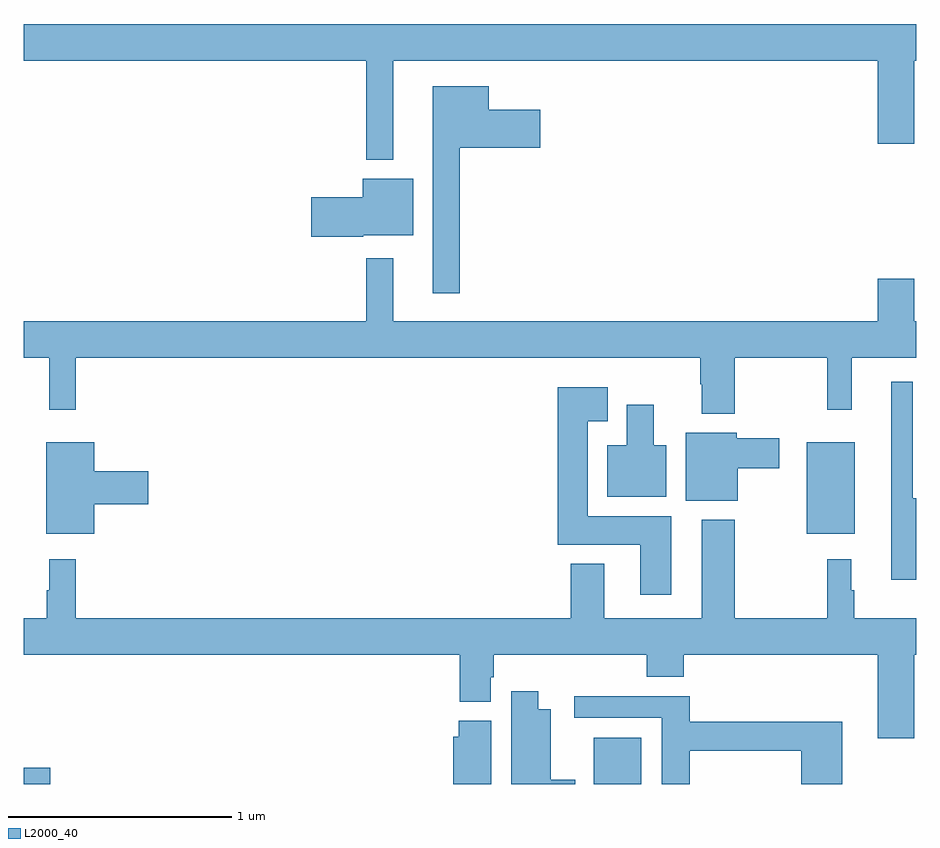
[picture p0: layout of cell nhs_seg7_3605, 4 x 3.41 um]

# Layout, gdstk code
import gdstk
lib = gdstk.Library(unit=1e-6, precision=1e-09)
def R(c, l, rs):  # rectangles x0, y0, x1, y1
    for r in rs: c.add(gdstk.rectangle(r[:2], r[2:], *l))
def P(c, l, *ps):  # polygons
    for p in ps: c.add(gdstk.Polygon(p, *l))
L2000_40 = (2000, 40)

nhs_seg7_3605 = lib.new_cell('nhs_seg7_3605')
R(nhs_seg7_3605, L2000_40, [(341,1036,341.117,1036.072), (343.556,1036,343.768,1036.207), (344.51,1037.123,344.725,1037.533)])
P(nhs_seg7_3605, L2000_40, [(342.655,1039.244),(344.828,1039.244),(344.828,1038.87),(344.992,1038.87),(344.992,1039.244),(345,1039.244),(345,1039.408),(341,1039.408),(341,1039.244),(342.534,1039.244),(342.534,1038.8),(342.655,1038.8)],
  [(342.955,1038.853),(343.315,1038.853),(343.315,1039.024),(343.084,1039.024),(343.084,1039.129),(342.833,1039.129),(342.833,1038.201),(342.955,1038.201)],
  [(342.522,1038.461),(342.745,1038.461),(342.745,1038.715),(342.518,1038.715),(342.518,1038.632),(342.288,1038.632),(342.288,1038.454),(342.522,1038.454)],
  [(344.187,1037.912),(344.601,1037.912),(344.601,1037.679),(344.711,1037.679),(344.711,1037.912),(345,1037.912),(345,1038.076),(344.992,1038.076),(344.992,1038.265),(344.828,1038.265),(344.828,1038.076),(342.655,1038.076),(342.655,1038.358),(342.534,1038.358),(342.534,1038.076),(341,1038.076),(341,1037.912),(341.114,1037.912),(341.114,1037.679),(341.231,1037.679),(341.231,1037.912),(344.032,1037.912),(344.032,1037.792),(344.039,1037.792),(344.039,1037.66),(344.187,1037.66)],
  [(345,1037.281),(344.985,1037.281),(344.985,1037.803),(344.888,1037.803),(344.888,1036.916),(345,1036.916)],
  [(343.903,1037.2),(343.528,1037.2),(343.528,1037.627),(343.618,1037.627),(343.618,1037.779),(343.394,1037.779),(343.394,1037.072),(343.763,1037.072),(343.763,1036.848),(343.903,1036.848)],
  [(343.879,1037.518),(343.825,1037.518),(343.825,1037.701),(343.703,1037.701),(343.703,1037.518),(343.616,1037.518),(343.616,1037.288),(343.879,1037.288)],
  [(344.2,1037.417),(344.386,1037.417),(344.386,1037.551),(344.196,1037.551),(344.196,1037.575),(343.967,1037.575),(343.967,1037.27),(344.2,1037.27)],
  [(341.314,1037.255),(341.557,1037.255),(341.557,1037.402),(341.314,1037.402),(341.314,1037.533),(341.099,1037.533),(341.099,1037.123),(341.314,1037.123)],
  [(344.992,1036.58),(345,1036.58),(345,1036.744),(344.722,1036.744),(344.722,1036.868),(344.71,1036.868),(344.71,1037.007),(344.601,1037.007),(344.601,1036.744),(344.187,1036.744),(344.187,1037.185),(344.039,1037.185),(344.039,1036.744),(343.603,1036.744),(343.603,1036.987),(343.451,1036.987),(343.451,1036.744),(341.231,1036.744),(341.231,1037.007),(341.114,1037.007),(341.114,1036.868),(341.103,1036.868),(341.103,1036.744),(341,1036.744),(341,1036.58),(342.953,1036.58),(342.953,1036.369),(343.093,1036.369),(343.093,1036.479),(343.106,1036.479),(343.106,1036.58),(343.793,1036.58),(343.793,1036.481),(343.958,1036.481),(343.958,1036.58),(344.828,1036.58),(344.828,1036.206),(344.992,1036.206)],
  [(343.471,1036.018),(343.363,1036.018),(343.363,1036.336),(343.306,1036.336),(343.306,1036.417),(343.184,1036.417),(343.184,1036),(343.471,1036)],
  [(343.985,1036.15),(344.486,1036.15),(344.486,1036),(344.669,1036),(344.669,1036.279),(343.985,1036.279),(343.985,1036.394),(343.467,1036.394),(343.467,1036.296),(343.859,1036.296),(343.859,1036),(343.985,1036)],
  [(343.096,1036.284),(342.95,1036.284),(342.95,1036.212),(342.926,1036.212),(342.926,1036),(343.096,1036)])

lib.write_gds('nhs_seg7_3605.gds')
